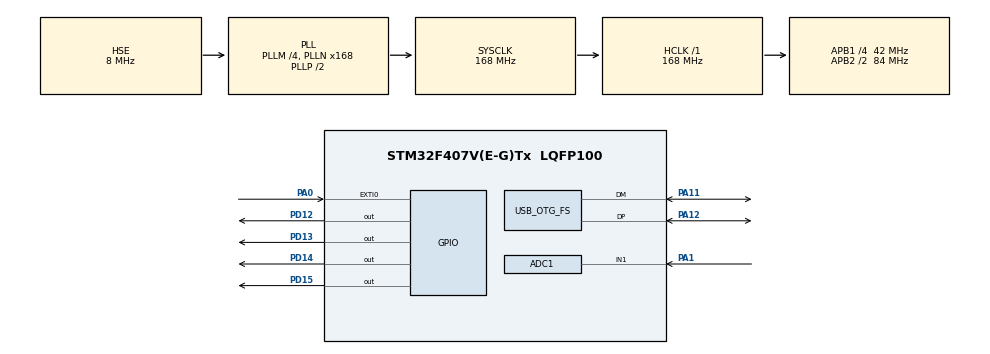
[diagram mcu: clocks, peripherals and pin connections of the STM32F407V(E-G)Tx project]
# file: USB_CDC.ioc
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ADC1.Channel-0\#ChannelRegularConversion=ADC_CHANNEL_1
ADC1.ContinuousConvMode=ENABLE
ADC1.DMAContinuousRequests=ENABLE
ADC1.NbrOfConversion=1
ADC1.NbrOfConversionFlag=1
ADC1.Rank-0\#ChannelRegularConversion=1
ADC1.SamplingTime-0\#ChannelRegularConversion=ADC_SAMPLETIME_480CYCLES
ADC1.ScanConvMode=DISABLE
ADC1.master=1
Dma.ADC1.0.Direction=DMA_PERIPH_TO_MEMORY
Dma.ADC1.0.FIFOMode=DMA_FIFOMODE_DISABLE
Dma.ADC1.0.Instance=DMA2_Stream0
Dma.ADC1.0.MemDataAlignment=DMA_MDATAALIGN_WORD
Dma.ADC1.0.MemInc=DMA_MINC_ENABLE
Dma.ADC1.0.Mode=DMA_CIRCULAR
Dma.ADC1.0.PeriphDataAlignment=DMA_PDATAALIGN_WORD
Dma.ADC1.0.PeriphInc=DMA_PINC_DISABLE
Dma.ADC1.0.Priority=DMA_PRIORITY_VERY_HIGH
Dma.Request0=ADC1
Mcu.Family=STM32F4
Mcu.Name=STM32F407V(E-G)Tx
Mcu.Package=LQFP100
NVIC.ADC_IRQn=true\:0\:0\:false\:false\:true\:true\:true\:true
NVIC.DMA2_Stream0_IRQn=true\:0\:0\:false\:false\:true\:false\:true\:true
NVIC.EXTI0_IRQn=true\:0\:0\:false\:false\:true\:true\:true\:true
NVIC.OTG_FS_IRQn=true\:0\:0\:false\:false\:true\:false\:true\:true
NVIC.PriorityGroup=NVIC_PRIORITYGROUP_4
NVIC.TIM1_UP_TIM10_IRQn=true\:0\:0\:false\:false\:true\:true\:true\:true
PA0-WKUP.Signal=GPXTI0
PA1.Signal=ADCx_IN1
PA11.Mode=Device_Only
PA11.Signal=USB_OTG_FS_DM
PA12.Mode=Device_Only
PA12.Signal=USB_OTG_FS_DP
PD12.PinState=GPIO_PIN_RESET
PD12.Signal=GPIO_Output
PD13.Signal=GPIO_Output
PD14.Signal=GPIO_Output
PD15.Signal=GPIO_Output
PH0-OSC_IN.Mode=HSE-External-Oscillator
PH0-OSC_IN.Signal=RCC_OSC_IN
PH1-OSC_OUT.Mode=HSE-External-Oscillator
PH1-OSC_OUT.Signal=RCC_OSC_OUT
ProjectManager.HeapSize=0x200
ProjectManager.StackSize=0x400
ProjectManager.TargetToolchain=STM32CubeIDE
RCC.48MHZClocksFreq_Value=48000000
RCC.AHBFreq_Value=168000000
RCC.APB1CLKDivider=RCC_HCLK_DIV4
RCC.APB1Freq_Value=42000000
RCC.APB1TimFreq_Value=84000000
RCC.APB2CLKDivider=RCC_HCLK_DIV2
RCC.APB2Freq_Value=84000000
RCC.APB2TimFreq_Value=168000000
RCC.CortexFreq_Value=168000000
RCC.HCLKFreq_Value=168000000
RCC.HSE_VALUE=8000000
RCC.HSI_VALUE=16000000
RCC.LSE_VALUE=32768
RCC.PLLM=4
RCC.PLLN=168
RCC.PLLQ=7
RCC.SYSCLKFreq_VALUE=168000000
RCC.SYSCLKSource=RCC_SYSCLKSOURCE_PLLCLK
RCC.VCOOutputFreq_Value=336000000
SH.ADCx_IN1.0=ADC1_IN1,IN1
TIM1.Period=1000
TIM1.Prescaler=168
USB_DEVICE.CLASS_NAME_FS=CDC
USB_DEVICE.VirtualMode-CDC_FS=Cdc
USB_DEVICE.VirtualModeFS=Cdc_FS
USB_OTG_FS.VirtualMode=Device_Only
VP_TIM1_VS_ClockSourceINT.Mode=Internal
VP_USB_DEVICE_VS_USB_DEVICE_CDC_FS.Mode=CDC_FS
board=custom

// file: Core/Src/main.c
/* USER CODE BEGIN Header */
/**
  ******************************************************************************
  * @file           : main.c
  * @brief          : Main program body
  ******************************************************************************
  * @attention
  *
  * Copyright (c) 2022 STMicroelectronics.
  * All rights reserved.
  *
  * This software is licensed under terms that can be found in the LICENSE file
  * in the root directory of this software component.
  * If no LICENSE file comes with this software, it is provided AS-IS.
  *
  ******************************************************************************
  */
/* USER CODE END Header */
#include "main.h"
#include "usb_device.h"

/* USER CODE BEGIN Includes */
#include "usbd_cdc_if.h"
#include "string.h"
//#include "stdio.h"
/* USER CODE END Includes */

ADC_HandleTypeDef hadc1;
DMA_HandleTypeDef hdma_adc1;

TIM_HandleTypeDef htim1;

void SystemClock_Config(void);
static void MX_GPIO_Init(void);
static void MX_DMA_Init(void);
static void MX_ADC1_Init(void);
static void MX_TIM1_Init(void);

/* USER CODE BEGIN 0 */
uint8_t data[64];
uint8_t number=0;
uint8_t usb_buffer[64];

//uint8_t TxData[64];
//uint8_t RxData[8];

uint32_t adc_value,adc_buffer,sum,adc_average;
uint16_t count=0;
uint8_t flag_avg=0,flag_adc=0;
float vol,vol_average,degree,degree_average;

////kalman
//static float kalman_adc_old=0;
//static float Q = 0.0001;//Q: Regulation noise, Q increases, dynamic response becomes faster, and convergence stability becomes worse
//static float R = 0.005; //R: Test noise, R increases, dynamic response becomes slower, convergence stability becomes better
//static float Kg = 0;
//static float P_k_k1 = 1;

//float kalman_filter(float ADC_Value)
//{
//    float x_k1_k1,x_k_k1;
//    float Z_k;
//    static float P_k1_k1;
//
//    float kalman_adc;
//    Z_k = ADC_Value;
//    x_k1_k1 = kalman_adc_old;
//
//    x_k_k1 = x_k1_k1;
//    P_k_k1 = P_k1_k1 + Q;
//
//    Kg = P_k_k1/(P_k_k1 + R);
//
//    kalman_adc = x_k_k1 + Kg * (Z_k - kalman_adc_old);
//    P_k1_k1 = (1 - Kg)*P_k_k1;
//    P_k_k1 = P_k1_k1;
//
//    kalman_adc_old = kalman_adc;
//
//    return kalman_adc;
//}

void HAL_GPIO_EXTI_Callback(uint16_t GPIO_Pin)
{
	if (GPIO_Pin == GPIO_PIN_0)
	{
	}
}
void HAL_ADC_ConvCpltCallback(ADC_HandleTypeDef* hadc)
{

	adc_value = adc_buffer;
	//adc_kalman = kalman_filter((float)adc_average);

	if(count == 40)
	{
	   adc_average = sum/count;
	   sum=0;
	   count=0;
	   flag_avg=1;
	}
	else
	{
		sum+=adc_buffer;
		count++;
	}
	flag_adc = 1;

}
void HAL_TIM_PeriodElapsedCallback(TIM_HandleTypeDef * htim)
{
	if (htim -> Instance == htim1.Instance)
	{
		sprintf((char*)data,"%.3f %.3f\n",degree,degree_average);
		CDC_Transmit_FS(data, strlen((const char*)data));

	}
}

/* USER CODE END 0 */

int main(void)
{

  /* MCU Configuration--------------------------------------------------------*/

  /* Reset of all peripherals, Initializes the Flash interface and the Systick. */
  HAL_Init();

  /* Configure the system clock */
  SystemClock_Config();

  /* Initialize all configured peripherals */
  MX_GPIO_Init();
  MX_DMA_Init();
  MX_USB_DEVICE_Init();
  MX_ADC1_Init();
  MX_TIM1_Init();
  /* USER CODE BEGIN 2 */
  HAL_ADC_Start_DMA(&hadc1, &adc_buffer, 1);
  HAL_TIM_Base_Start_IT(&htim1);

  /* USER CODE END 2 */

  /* Infinite loop */
  while (1)
  {

    /* USER CODE BEGIN 3 */

	if(flag_adc)
	{
		vol = (float)adc_value/4095*3/0.249381;
		degree = vol/10*360;
		if(flag_avg)
		{
			vol_average = (float)adc_average/4095*3/0.249381;
			degree_average = vol_average/10*360;
			flag_avg=0;
		}

	}

  }
  /* USER CODE END 3 */
}

void SystemClock_Config(void)
{
  RCC_OscInitTypeDef RCC_OscInitStruct = {0};
  RCC_ClkInitTypeDef RCC_ClkInitStruct = {0};

  /** Configure the main internal regulator output voltage
  */
  __HAL_RCC_PWR_CLK_ENABLE();
  __HAL_PWR_VOLTAGESCALING_CONFIG(PWR_REGULATOR_VOLTAGE_SCALE1);

  /** Initializes the RCC Oscillators according to the specified parameters
  * in the RCC_OscInitTypeDef structure.
  */
  RCC_OscInitStruct.OscillatorType = RCC_OSCILLATORTYPE_HSE;
  RCC_OscInitStruct.HSEState = RCC_HSE_ON;
  RCC_OscInitStruct.PLL.PLLState = RCC_PLL_ON;
  RCC_OscInitStruct.PLL.PLLSource = RCC_PLLSOURCE_HSE;
  RCC_OscInitStruct.PLL.PLLM = 4;
  RCC_OscInitStruct.PLL.PLLN = 168;
  RCC_OscInitStruct.PLL.PLLP = RCC_PLLP_DIV2;
  RCC_OscInitStruct.PLL.PLLQ = 7;
  if (HAL_RCC_OscConfig(&RCC_OscInitStruct) != HAL_OK)
  {
    Error_Handler();
  }

  /** Initializes the CPU, AHB and APB buses clocks
  */
  RCC_ClkInitStruct.ClockType = RCC_CLOCKTYPE_HCLK|RCC_CLOCKTYPE_SYSCLK
                              |RCC_CLOCKTYPE_PCLK1|RCC_CLOCKTYPE_PCLK2;
  RCC_ClkInitStruct.SYSCLKSource = RCC_SYSCLKSOURCE_PLLCLK;
  RCC_ClkInitStruct.AHBCLKDivider = RCC_SYSCLK_DIV1;
  RCC_ClkInitStruct.APB1CLKDivider = RCC_HCLK_DIV4;
  RCC_ClkInitStruct.APB2CLKDivider = RCC_HCLK_DIV2;

  if (HAL_RCC_ClockConfig(&RCC_ClkInitStruct, FLASH_LATENCY_5) != HAL_OK)
  {
    Error_Handler();
  }
}

static void MX_ADC1_Init(void)
{

  ADC_ChannelConfTypeDef sConfig = {0};

  /** Configure the global features of the ADC (Clock, Resolution, Data Alignment and number of conversion)
  */
  hadc1.Instance = ADC1;
  hadc1.Init.ClockPrescaler = ADC_CLOCK_SYNC_PCLK_DIV4;
  hadc1.Init.Resolution = ADC_RESOLUTION_12B;
  hadc1.Init.ScanConvMode = DISABLE;
  hadc1.Init.ContinuousConvMode = ENABLE;
  hadc1.Init.DiscontinuousConvMode = DISABLE;
  hadc1.Init.ExternalTrigConvEdge = ADC_EXTERNALTRIGCONVEDGE_NONE;
  hadc1.Init.ExternalTrigConv = ADC_SOFTWARE_START;
  hadc1.Init.DataAlign = ADC_DATAALIGN_RIGHT;
  hadc1.Init.NbrOfConversion = 1;
  hadc1.Init.DMAContinuousRequests = ENABLE;
  hadc1.Init.EOCSelection = ADC_EOC_SINGLE_CONV;
  if (HAL_ADC_Init(&hadc1) != HAL_OK)
  {
    Error_Handler();
  }

  /** Configure for the selected ADC regular channel its corresponding rank in the sequencer and its sample time.
  */
  sConfig.Channel = ADC_CHANNEL_1;
  sConfig.Rank = 1;
  sConfig.SamplingTime = ADC_SAMPLETIME_480CYCLES;
  if (HAL_ADC_ConfigChannel(&hadc1, &sConfig) != HAL_OK)
  {
    Error_Handler();
  }

}

static void MX_TIM1_Init(void)
{

  TIM_ClockConfigTypeDef sClockSourceConfig = {0};
  TIM_MasterConfigTypeDef sMasterConfig = {0};

  htim1.Instance = TIM1;
  htim1.Init.Prescaler = 168;
  htim1.Init.CounterMode = TIM_COUNTERMODE_UP;
  htim1.Init.Period = 1000;
  htim1.Init.ClockDivision = TIM_CLOCKDIVISION_DIV1;
  htim1.Init.RepetitionCounter = 0;
  htim1.Init.AutoReloadPreload = TIM_AUTORELOAD_PRELOAD_DISABLE;
  if (HAL_TIM_Base_Init(&htim1) != HAL_OK)
  {
    Error_Handler();
  }
  sClockSourceConfig.ClockSource = TIM_CLOCKSOURCE_INTERNAL;
  if (HAL_TIM_ConfigClockSource(&htim1, &sClockSourceConfig) != HAL_OK)
  {
    Error_Handler();
  }
  sMasterConfig.MasterOutputTrigger = TIM_TRGO_RESET;
  sMasterConfig.MasterSlaveMode = TIM_MASTERSLAVEMODE_DISABLE;
  if (HAL_TIMEx_MasterConfigSynchronization(&htim1, &sMasterConfig) != HAL_OK)
  {
    Error_Handler();
  }

}

static void MX_DMA_Init(void)
{

  /* DMA controller clock enable */
  __HAL_RCC_DMA2_CLK_ENABLE();

  /* DMA interrupt init */
  /* DMA2_Stream0_IRQn interrupt configuration */
  HAL_NVIC_SetPriority(DMA2_Stream0_IRQn, 0, 0);
  HAL_NVIC_EnableIRQ(DMA2_Stream0_IRQn);

}

static void MX_GPIO_Init(void)
{
  GPIO_InitTypeDef GPIO_InitStruct = {0};

  /* GPIO Ports Clock Enable */
  __HAL_RCC_GPIOH_CLK_ENABLE();
  __HAL_RCC_GPIOA_CLK_ENABLE();
  __HAL_RCC_GPIOD_CLK_ENABLE();

  /*Configure GPIO pin Output Level */
  HAL_GPIO_WritePin(GPIOD, GPIO_PIN_12|GPIO_PIN_13|GPIO_PIN_14|GPIO_PIN_15, GPIO_PIN_RESET);

  /*Configure GPIO pin : PA0 */
  GPIO_InitStruct.Pin = GPIO_PIN_0;
  GPIO_InitStruct.Mode = GPIO_MODE_IT_RISING;
  GPIO_InitStruct.Pull = GPIO_NOPULL;
  HAL_GPIO_Init(GPIOA, &GPIO_InitStruct);

  /*Configure GPIO pins : PD12 PD13 PD14 PD15 */
  GPIO_InitStruct.Pin = GPIO_PIN_12|GPIO_PIN_13|GPIO_PIN_14|GPIO_PIN_15;
  GPIO_InitStruct.Mode = GPIO_MODE_OUTPUT_PP;
  GPIO_InitStruct.Pull = GPIO_NOPULL;
  GPIO_InitStruct.Speed = GPIO_SPEED_FREQ_LOW;
  HAL_GPIO_Init(GPIOD, &GPIO_InitStruct);

  /* EXTI interrupt init*/
  HAL_NVIC_SetPriority(EXTI0_IRQn, 0, 0);
  HAL_NVIC_EnableIRQ(EXTI0_IRQn);

}

void Error_Handler(void)
{
  __disable_irq();
  while (1)
  {
  }
}
